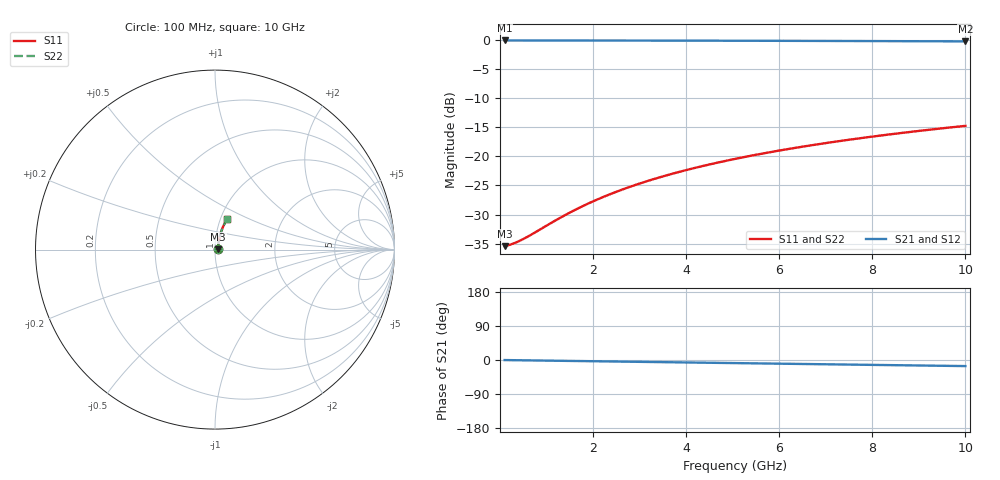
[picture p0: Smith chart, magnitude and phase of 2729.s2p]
# Hz S RI R 50.00
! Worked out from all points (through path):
!   100 points, 100 MHz to 10 GHz, reference 50 ohm
!   highest |S21| = -0.15 dB at 100 MHz (marker M1); lowest = -0.3 dB at 10 GHz (marker M2)
!   group delay of S21, straight-line fit = 4.46 ps
!   lowest |S11| = -35.4 dB at 100 MHz (marker M3), VSWR 1.03, Z = 51.7 + j0.187 ohm
!   |S11| at or under -10 dB: start of sweep to end of sweep
!   |S22| runs from -35.4 to -14.8 dB; largest |S21 - S12| = 0
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1e8  0.0169 0.00181  0.9831 -0.00278  0.9831 -0.00278  0.0169 0.00181
2e8  0.017 0.00362  0.983 -0.00557  0.983 -0.00557  0.017 0.00362
3e8  0.0171 0.00543  0.9829 -0.00835  0.9829 -0.00835  0.0171 0.00543
5e8  0.0173 0.00905  0.9827 -0.0139  0.9827 -0.0139  0.0173 0.00905
7e8  0.0175 0.0127  0.9824 -0.0195  0.9824 -0.0195  0.0175 0.0127
1.3e9  0.0183 0.0235  0.9816 -0.0361  0.9816 -0.0361  0.0183 0.0235
1.6e9  0.0189 0.0289  0.981 -0.0444  0.981 -0.0444  0.0189 0.0289
1.8e9  0.0193 0.0325  0.9806 -0.05  0.9806 -0.05  0.0193 0.0325
2.1e9  0.0199 0.0379  0.9799 -0.0583  0.9799 -0.0583  0.0199 0.0379
2.5e9  0.0209 0.045  0.9787 -0.0693  0.9787 -0.0693  0.0209 0.045
2.9e9  0.0221 0.0521  0.9775 -0.0803  0.9775 -0.0803  0.0221 0.0521
3.4e9  0.0238 0.061  0.9756 -0.094  0.9756 -0.094  0.0238 0.061
3.8e9  0.0253 0.068  0.974 -0.105  0.974 -0.105  0.0253 0.068
4.2e9  0.027 0.075  0.9722 -0.1159  0.9722 -0.1159  0.027 0.075
4.6e9  0.0288 0.082  0.9702 -0.1267  0.9702 -0.1267  0.0288 0.082
5.1e9  0.0313 0.0906  0.9674 -0.1402  0.9674 -0.1402  0.0313 0.0906
5.9e9  0.0358 0.1042  0.9625 -0.1616  0.9625 -0.1616  0.0358 0.1042
6.7e9  0.0408 0.1175  0.957 -0.1828  0.957 -0.1828  0.0408 0.1175
7.5e9  0.0464 0.1306  0.9508 -0.2036  0.9508 -0.2036  0.0464 0.1306
8.4e9  0.0534 0.1449  0.9431 -0.2268  0.9431 -0.2268  0.0534 0.1449
9.2e9  0.0602 0.1573  0.9356 -0.247  0.9356 -0.247  0.0602 0.1573
1e10  0.0675 0.1693  0.9276 -0.2668  0.9276 -0.2668  0.0675 0.1693
